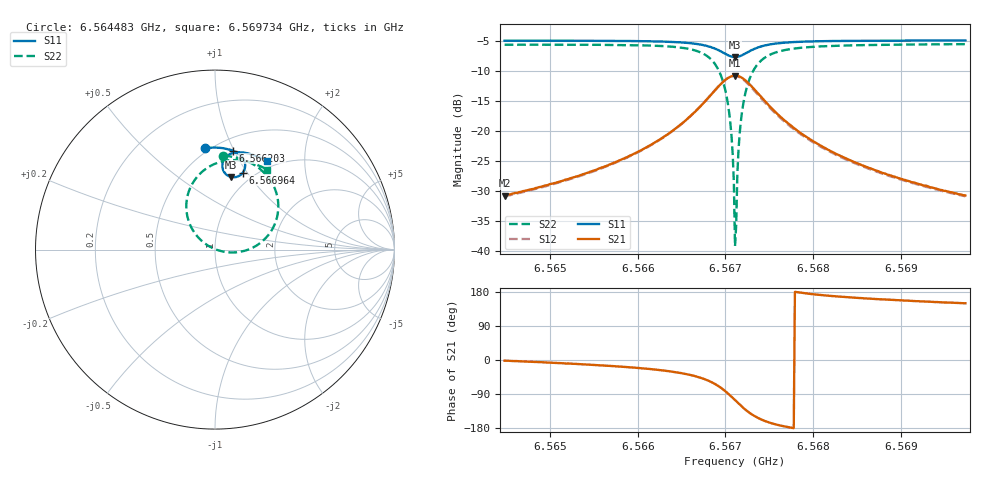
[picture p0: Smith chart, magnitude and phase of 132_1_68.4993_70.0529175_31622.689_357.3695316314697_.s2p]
#  HZ  S  RI  R  50.00
! Rohde & Schwarz Vector Network Analyzer
! Rohde-Schwarz,ZNB20-2Port,1311601062101988,3.16
! Created: UTC 3/20/2024, 5:09:39 PM
! freq[Hz]  re:S11  im:S11  re:S21  im:S21  re:S12  im:S12  re:S22  im:S22
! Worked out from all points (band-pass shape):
!   401 points, 6.564483 GHz to 6.569734 GHz, reference 50 ohm
!   highest |S21| = -10.74 dB at 6.567108 GHz (marker M1); lowest = -30.8 dB at 6.564483 GHz (marker M2)
!   |S21| within 3 dB of the highest: 6.566847 GHz to 6.567372 GHz (524.8 kHz wide, 0.00799 % of centre)
!   lowest |S11| = -7.7 dB at 6.567108 GHz (marker M3), VSWR 2.42, Z = 41.8 + j40.8 ohm
!   |S11| at or under -10 dB: nowhere
!   |S22| runs from -39.2 to -5.5 dB; largest |S21 - S12| = 0.014
!   S11 on the Smith chart (normalised r, x): 6.564483 GHz: 0.47, +0.79; 6.566203 GHz: 0.61, +0.99; 6.566964 GHz: 0.88, +0.95; 6.569734 GHz: 0.91, +1.32
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6.5644834e9  -0.0532 0.5665  0.0289 -0.000917  0.0284 -0.00131  0.0471 0.5236
6.5653628e9  0.0195 0.5674  0.0424 -0.00842  0.0417 -0.00895  0.1317 0.5088
6.5662028e9  0.0991 0.5517  0.0732 -0.0347  0.0721 -0.0356  0.2452 0.4537
6.5662422e9  0.1033 0.5499  0.0756 -0.0374  0.0745 -0.0384  0.2523 0.4482
6.5665441e9  0.1389 0.5285  0.0981 -0.0733  0.0966 -0.0748  0.3144 0.3775
6.5667541e9  0.1633 0.4948  0.1112 -0.1321  0.1086 -0.1349  0.3517 0.264
6.5668722e9  0.1678 0.4613  0.1005 -0.1909  0.0954 -0.1944  0.3371 0.1522
6.5669641e9  0.155 0.4286  0.0612 -0.2466  0.0527 -0.2497  0.2656 0.0478
6.5670428e9  0.1252 0.4065  -0.00667 -0.2814  -0.0187 -0.2808  0.1404 -0.0124
6.5670691e9  0.1117 0.4034  -0.0353 -0.2848  -0.0478 -0.2821  0.089 -0.0161
6.5670953e9  0.0977 0.4033  -0.0648 -0.2827  -0.0773 -0.2776  0.0366 -0.00901
6.5671085e9  0.0908 0.4043  -0.0795 -0.2794  -0.0917 -0.2733  0.0108 -0.00166
6.5671216e9  0.0838 0.4063  -0.0936 -0.2746  -0.1054 -0.2675  -0.0137 0.00856
6.5671347e9  0.0772 0.4089  -0.1071 -0.2683  -0.1185 -0.2604  -0.0369 0.021
6.567161e9  0.0653 0.4162  -0.132 -0.2527  -0.1415 -0.2429  -0.0782 0.0523
6.5671872e9  0.0555 0.4258  -0.1524 -0.2331  -0.1602 -0.2222  -0.111 0.0892
6.5672397e9  0.0436 0.4478  -0.1789 -0.189  -0.183 -0.1772  -0.1502 0.1702
6.5673054e9  0.0412 0.475  -0.1892 -0.1361  -0.1892 -0.1254  -0.1589 0.2638
6.5675547e9  0.0796 0.5299  -0.1448 -0.0284  -0.1418 -0.024  -0.0575 0.4452
6.5679879e9  0.1427 0.5423  -0.0827 0.00899  -0.0808 0.0103  0.0815 0.4978
6.5688673e9  0.2261 0.5224  -0.0401 0.0155  -0.0391 0.0157  0.2122 0.4811
6.5697336e9  0.2906 0.4914  -0.0251 0.0146  -0.0244 0.0148  0.2897 0.446
